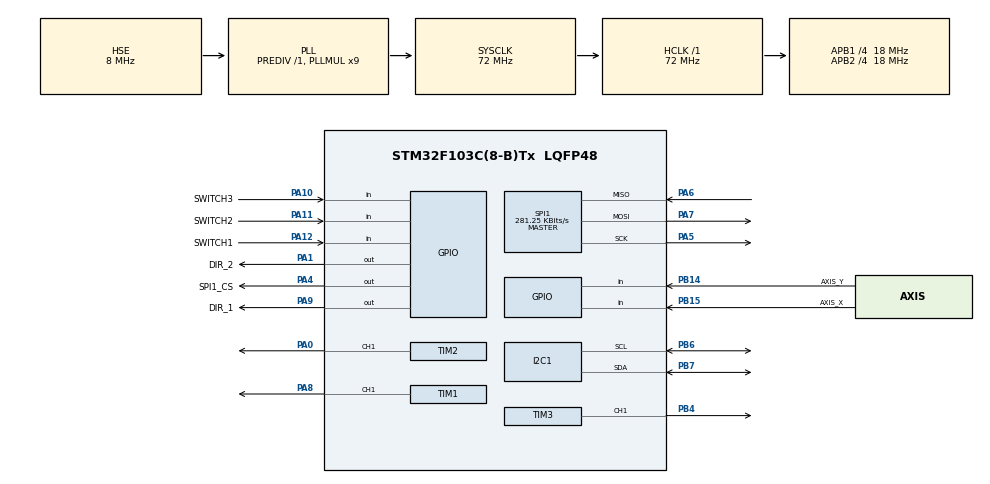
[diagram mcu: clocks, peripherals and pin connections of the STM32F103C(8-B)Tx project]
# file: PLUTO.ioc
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FATFS._MAX_SS=4096
FATFS._USE_LFN=1
I2C1.I2C_Mode=I2C_Fast
Mcu.Family=STM32F1
Mcu.Name=STM32F103C(8-B)Tx
Mcu.Package=LQFP48
NVIC.PriorityGroup=NVIC_PRIORITYGROUP_4
NVIC.SPI1_IRQn=true\:0\:0\:false\:false\:true\:true\:true\:true
PA0-WKUP.Signal=S_TIM2_CH1_ETR
PA1.GPIO_Label=DIR_2
PA1.Signal=GPIO_Output
PA10.GPIO_Label=SWITCH3
PA10.GPIO_PuPd=GPIO_PULLUP
PA10.Signal=GPIO_Input
PA11.GPIO_Label=SWITCH2
PA11.GPIO_PuPd=GPIO_PULLUP
PA11.Signal=GPIO_Input
PA12.GPIO_Label=SWITCH1
PA12.GPIO_PuPd=GPIO_PULLUP
PA12.Signal=GPIO_Input
PA13.Mode=Serial_Wire
PA13.Signal=SYS_JTMS-SWDIO
PA14.Mode=Serial_Wire
PA14.Signal=SYS_JTCK-SWCLK
PA4.GPIO_Label=SPI1_CS
PA4.Signal=GPIO_Output
PA5.Mode=Full_Duplex_Master
PA5.Signal=SPI1_SCK
PA6.GPIO_PuPd=GPIO_PULLUP
PA6.Mode=Full_Duplex_Master
PA6.Signal=SPI1_MISO
PA7.Mode=Full_Duplex_Master
PA7.Signal=SPI1_MOSI
PA8.Signal=S_TIM1_CH1
PA9.GPIO_Label=DIR_1
PA9.Signal=GPIO_Output
PB14.GPIO_Label=AXIS_Y
PB14.GPIO_PuPd=GPIO_PULLUP
PB14.Signal=GPIO_Input
PB15.GPIO_Label=AXIS_X
PB15.GPIO_PuPd=GPIO_PULLUP
PB15.Signal=GPIO_Input
PB4.Signal=S_TIM3_CH1
PB6.Mode=I2C
PB6.Signal=I2C1_SCL
PB7.Mode=I2C
PB7.Signal=I2C1_SDA
PD0-OSC_IN.Mode=HSE-External-Oscillator
PD0-OSC_IN.Signal=RCC_OSC_IN
PD1-OSC_OUT.Mode=HSE-External-Oscillator
PD1-OSC_OUT.Signal=RCC_OSC_OUT
ProjectManager.HeapSize=0x200
ProjectManager.StackSize=0x400
ProjectManager.TargetToolchain=STM32CubeIDE
RCC.AHBFreq_Value=72000000
RCC.APB1CLKDivider=RCC_HCLK_DIV4
RCC.APB1Freq_Value=18000000
RCC.APB1TimFreq_Value=36000000
RCC.APB2CLKDivider=RCC_HCLK_DIV4
RCC.APB2Freq_Value=18000000
RCC.APB2TimFreq_Value=36000000
RCC.HCLKFreq_Value=72000000
RCC.PLLMUL=RCC_PLL_MUL9
RCC.PLLSourceVirtual=RCC_PLLSOURCE_HSE
RCC.SYSCLKFreq_VALUE=72000000
RCC.SYSCLKSource=RCC_SYSCLKSOURCE_PLLCLK
RCC.USBFreq_Value=72000000
SH.S_TIM1_CH1.0=TIM1_CH1,PWM Generation1 CH1
SH.S_TIM2_CH1_ETR.0=TIM2_CH1,PWM Generation1 CH1
SH.S_TIM3_CH1.0=TIM3_CH1,PWM Generation1 CH1
SPI1.BaudRatePrescaler=SPI_BAUDRATEPRESCALER_64
SPI1.CalculateBaudRate=281.25 KBits/s
SPI1.Direction=SPI_DIRECTION_2LINES
SPI1.Mode=SPI_MODE_MASTER
SPI1.VirtualType=VM_MASTER
TIM1.Channel-PWM\ Generation1\ CH1=TIM_CHANNEL_1
TIM1.Period=99
TIM1.Prescaler=35
TIM1.Pulse-PWM\ Generation1\ CH1=70
TIM2.Channel-PWM\ Generation1\ CH1=TIM_CHANNEL_1
TIM2.Period=99
TIM2.Prescaler=35
TIM2.Pulse-PWM\ Generation1\ CH1=70
TIM3.Channel-PWM\ Generation1\ CH1=TIM_CHANNEL_1
TIM3.Period=19999
TIM3.Prescaler=35
VP_FATFS_VS_Generic.Mode=User_defined
VP_TIM1_VS_ClockSourceINT.Mode=Internal
VP_TIM2_VS_ClockSourceINT.Mode=Internal
VP_TIM3_VS_ClockSourceINT.Mode=Internal
board=custom

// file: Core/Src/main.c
/* USER CODE BEGIN Header */
/**
  ******************************************************************************
  * @file           : main.c
  * @brief          : Main program body
  ******************************************************************************
  * @attention
  *
  * Copyright (c) 2025 STMicroelectronics.
  * All rights reserved.
  *
  * This software is licensed under terms that can be found in the LICENSE file
  * in the root directory of this software component.
  * If no LICENSE file comes with this software, it is provided AS-IS.
  *
  ******************************************************************************
  */
/* USER CODE END Header */
#include "main.h"
#include "fatfs.h"
#include "i2c.h"
#include "spi.h"
#include "tim.h"
#include "gpio.h"

/* USER CODE BEGIN Includes */
#include <stdbool.h>
#include"fonts.h"
#include"SH1106.h"
#include"bitmap.h"
/* USER CODE END Includes */

void SystemClock_Config(void);

/* USER CODE BEGIN 0 */
uint16_t X = 0;
uint16_t Y = 0;
bool G_code = 0;
bool czy_podniesiony_mazak;
uint16_t wysokość_ramki = 14;
uint16_t szerokość_ramki = 100;
enum DeviceState{
	MainMenu, //tryb menu glownego (wybor pomiedzy rysownaiem a kalibracja)
	Calibration, //tryb kalibracji gdzie mazak jedzie na dowolna pozycje i czeka na wypoziomowanie
	FileMenu, //tryb selektora plikow projektowych
	ConfirmFile, //stan w ktorym urzadzenie yta o potwierdzenie pliku
	Drawing //tryb w ktorym wykonywany jest program
};
enum DeviceState Stan;
uint8_t k; //To jest zmienna do wyboru opcji w menu glownym
uint8_t i;  //To zmienna do wyboru plikow
//enum ktory mowi w jakim stanie jest urzadzenie

char *nazwy_plików[] = {
		  "Plik1",
		  "Plik2",
		  "Plik3",
		  "Plik4",
};
/* USER CODE END 0 */

  /* USER CODE BEGIN 1 */

/* FUNKCJA DO USTAWIANIA POZYCJI SERWO */
void SetServoPosition(int16_t angle)
{
	uint16_t pulse = 500 + (angle*11.11);
	HAL_TIM_PWM_Start(&htim3, TIM_CHANNEL_1);
    __HAL_TIM_SET_COMPARE(&htim3, TIM_CHANNEL_1, pulse);
    HAL_Delay(500);
}
/* FUNKCJA KTÓRA W ARGUMENCIE MA PODANE, CZY CHCEMY MIEĆ PODNIESIONY MAZAK, CZY NIE
 * PORÓWNUJE TO ZE ZMIENNĄ GLOBALNĄ I USTAWIA MAZAK W ODPOWIEDNIEJ POZYCJI
 */
void mazak(bool pozycja_mazaka){

	if (pozycja_mazaka == czy_podniesiony_mazak){
		return;
	}
	else if(pozycja_mazaka == 1 && czy_podniesiony_mazak == 0){
		SetServoPosition(120);
		czy_podniesiony_mazak = 1;
	}
	else if(pozycja_mazaka == 0 && czy_podniesiony_mazak == 1){
		SetServoPosition(180);
		czy_podniesiony_mazak = 0;
	}
}
/*DODANIE FUNKCJI DO KALIBRACJI, KTÓRA OPUSZCZA MAZAK PRZEZ PEWIEN CZAS, TAK ABY UŻYTKOWNIK
 * MÓGŁNA SPOKOJNIE ZAMONTOWAC MAZAK DOTYKAJACY KARTKI. FUNKCJA NASTEPNIE PODNOSI MAZAK, KTORY JEST
 * JUZ ODPOWIEDNIO WYPOZIOMOWANY
 */
void leveling(){
	mazak(0);
	HAL_Delay(100);
	if(czy_podniesiony_mazak == 0){
		mazak(1);//opuszczenie mazaka
		HAL_Delay(20000);
		//na razie dam czas na wypiziomowanie ale pozniej bedzie tutuaj petla while z której bedzie
		//mozna wyjsc przyciskiem
	}
	mazak(0);//ponowne podniesienie mazaka
}
/* ZAMIANA NA RUCH LINIOWY, KORZYSTAMY Z FUNKCJI S = V*t, GDZIE S TO X LUB Y,
 * NASTĘPNIE KORZYSTAMY Z DANYCH: SILNIK KROKOWY MA : 200KROKÓW/OBR, MICROSTEPPING = 1/2,
 * SKOK ŚRUBY WYNOSI 1.25MM. PARAMETRY SYGNAŁU PWM: PERIOD = 99, PRESCALER = 71,
 * USTAWIAMY WSPÓŁCZYNNIK ARR = 499, TERAZ MAMY WZÓR: fPWM​= fTIM/(PSC+1)×(ARR+1) = 72000000/(71+1)*(499+1)=2000 HZ,
 * NASTĘPNIE (200 KROKÓW/OBR * 2)/1.25 = 320 KROKÓW/MM (GDZIE DWA SĄ OD MICROSTEPPINGU, 1.25 SKOK ŚRUBY,
 * NASTĘPNIE V = 2000/320 = 6.25 mm/s ---> 160mm/ms
 *      fPWM ------^   ​​
 */
uint16_t kierunek_silnikaX(uint16_t x){

	if(x >= X){
		HAL_GPIO_WritePin(DIR_1_GPIO_Port, DIR_1_Pin, GPIO_PIN_RESET);
		x = x - X;
		X = X + x;
	}
	else{
		HAL_GPIO_WritePin(DIR_1_GPIO_Port, DIR_1_Pin, GPIO_PIN_SET);
		x = X - x;
		X = X - x;
	}
	return x;
}
uint16_t kierunek_silnikaY(uint16_t y){

	if(y >= Y){
		HAL_GPIO_WritePin(DIR_2_GPIO_Port, DIR_2_Pin, GPIO_PIN_SET);
		y = y - Y;
		Y = Y + y;
	}
	else{
		HAL_GPIO_WritePin(DIR_2_GPIO_Port, DIR_2_Pin, GPIO_PIN_RESET);
		y = Y - y;
		Y = Y - y;
	}
	return y;
}

//bool ruchliniowy(uint16_t x, uint16_t y){
//	uint16_t ARRY = 0;
//	uint16_t ARRX = 0;
//	uint16_t t = 0;
//
//	x = kierunek_silnikaX(x);
//	y = kierunek_silnikaY(y);
//
//	if(x == 0){
//		ARRY = 499;
//		ARRX = 0;
//		t = 160 * y;
//		__HAL_TIM_SET_AUTORELOAD(&htim2, ARRY);
//		HAL_TIM_PWM_Start(&htim2, TIM_CHANNEL_1);
//	}
//	else if(y == 0){
//		ARRX = 499;
//		ARRY = 0;
//		t = 160 * x;
//		__HAL_TIM_SET_AUTORELOAD(&htim1, ARRX);
//		HAL_TIM_PWM_Start(&htim1, TIM_CHANNEL_1);
//	}
//	else if(y >= x && y!=0 && x!=0){
//		ARRY = 499;
//		ARRX = (uint16_t)(((float)y / (float)x) * (ARRY + 1) - 1);
//		t = (uint16_t)((float)(8*(ARRX+1))/25) * x;
//		__HAL_TIM_SET_AUTORELOAD(&htim2, ARRY);
//		__HAL_TIM_SET_AUTORELOAD(&htim1, ARRX);
//
//		__HAL_TIM_SET_COUNTER(&htim1, 0);
//		__HAL_TIM_SET_COUNTER(&htim2, 0);
//
//		HAL_TIM_PWM_Start(&htim2, TIM_CHANNEL_1);
//		HAL_TIM_PWM_Start(&htim1, TIM_CHANNEL_1);
//	}
//	else{
//		ARRX = 499;
//		ARRY = (uint16_t)(((float)x / (float)y) * (ARRX+1) - 1);
//		t = (uint16_t)((float)(8*(ARRY+1))/25) * y;
//		__HAL_TIM_SET_AUTORELOAD(&htim2, ARRY);
//		__HAL_TIM_SET_AUTORELOAD(&htim1, ARRX);
//
//		__HAL_TIM_SET_COUNTER(&htim1, 0);
//		__HAL_TIM_SET_COUNTER(&htim2, 0);
//
//		HAL_TIM_PWM_Start(&htim2, TIM_CHANNEL_1);
//		HAL_TIM_PWM_Start(&htim1, TIM_CHANNEL_1);
//	}
//
////	__HAL_TIM_SET_AUTORELOAD(&htim2, ARRY);
////	__HAL_TIM_SET_AUTORELOAD(&htim1, ARRX);
//
//
////	HAL_TIM_PWM_Start(&htim2, TIM_CHANNEL_1); // włącz PWM (kroki)
////	HAL_TIM_PWM_Start(&htim1, TIM_CHANNEL_1); // włącz PWM (kroki)
//
//
//	HAL_Delay(t);
//	HAL_TIM_PWM_Stop(&htim1, TIM_CHANNEL_1);
//	HAL_TIM_PWM_Stop(&htim2, TIM_CHANNEL_1);
//
//return 1;
//
//}
bool ruchliniowy(uint16_t x_target, uint16_t y_target) {

    uint16_t dx = (x_target >= X) ? (x_target - X) : (X - x_target);
    uint16_t dy = (y_target >= Y) ? (y_target - Y) : (Y - y_target);

    if (dx == 0 && dy == 0) return true;

    HAL_GPIO_WritePin(DIR_1_GPIO_Port, DIR_1_Pin, (x_target >= X) ? GPIO_PIN_RESET : GPIO_PIN_SET);
    HAL_GPIO_WritePin(DIR_2_GPIO_Port, DIR_2_Pin, (y_target >= Y) ? GPIO_PIN_SET : GPIO_PIN_RESET);

    uint16_t ax = 499, ay = 499;
    uint32_t t_ms = 0;

    if (dx >= dy) {
        ax = 499;
        ay = (dy == 0) ? 499 : (uint16_t)(((float)dx / (float)dy) * 500.0f - 1.0f);
        t_ms = (uint32_t)dx * 160;
    } else {
        ay = 499;
        ax = (dx == 0) ? 499 : (uint16_t)(((float)dy / (float)dx) * 500.0f - 1.0f);
        t_ms = (uint32_t)dy * 160;
    }

    __HAL_TIM_SET_AUTORELOAD(&htim1, ax);
    __HAL_TIM_SET_AUTORELOAD(&htim2, ay);
    __HAL_TIM_SET_COUNTER(&htim1, 0);
    __HAL_TIM_SET_COUNTER(&htim2, 0);

    if (dx > 0) HAL_TIM_PWM_Start(&htim1, TIM_CHANNEL_1);
    if (dy > 0) HAL_TIM_PWM_Start(&htim2, TIM_CHANNEL_1);

    HAL_Delay(t_ms);

    HAL_TIM_PWM_Stop(&htim1, TIM_CHANNEL_1);
    HAL_TIM_PWM_Stop(&htim2, TIM_CHANNEL_1);

    X = x_target;
    Y = y_target;

    HAL_Delay(5);
    return true;
}
/* FUNKCJA USTALAJĄCA POZYCJĘ ZEROWĄ(POCZĄTKOWĄ) */

bool homing(){

	SetServoPosition(180);
	czy_podniesiony_mazak = 0;

	HAL_GPIO_WritePin(DIR_1_GPIO_Port, DIR_1_Pin, GPIO_PIN_SET);

	while(HAL_GPIO_ReadPin(AXIS_X_GPIO_Port, AXIS_X_Pin)){
		HAL_TIM_PWM_Start(&htim1, TIM_CHANNEL_1); // włącz PWM (kroki)
		__HAL_TIM_SET_AUTORELOAD(&htim1, 500 - 1);
	}
	HAL_TIM_PWM_Stop(&htim1, TIM_CHANNEL_1);

	HAL_GPIO_WritePin(DIR_2_GPIO_Port, DIR_2_Pin, GPIO_PIN_RESET);

	while(HAL_GPIO_ReadPin(AXIS_Y_GPIO_Port, AXIS_Y_Pin)){
		HAL_TIM_PWM_Start(&htim2, TIM_CHANNEL_1); // włącz PWM (kroki)
		__HAL_TIM_SET_AUTORELOAD(&htim2, 500 - 1);
	}
	HAL_TIM_PWM_Stop(&htim2, TIM_CHANNEL_1);
	ruchliniowy(5,5);
	X = 0;
	Y = 0;
	return 1;
}

/*
 * KARTA SD
 */
#define MAX_FILES 4

char filenames[MAX_FILES][13];
char ostatnia_linia_pliku[128];
FATFS fs;
DIR dir;
FILINFO fno;
FIL fil;

void list_files(void)
{
    FRESULT res;

    uint8_t i = 0;
    res = f_mount(&fs, "", 1);
    if (res != FR_OK) {
        printf("Mount error: %d\n", res);
        return;
    }

    res = f_opendir(&dir, "/");
    if (res != FR_OK) {
        printf("Dir error: %d\n", res);
        return;
    }

    for (;;) {
        res = f_readdir(&dir, &fno);
        if (res != FR_OK || fno.fname[0] == 0)
            break;

        if (fno.fattrib & (AM_SYS | AM_HID | AM_DIR))
        	continue;
        else
            printf("%s (%lu bytes)\n", fno.fname, fno.fsize);
        	snprintf(filenames[i], sizeof(filenames[i]), "%s", fno.fname);
        	i++;
    }

    f_closedir(&dir);
}
void wykonaj_linie(const char *line)
{
    uint16_t temp_X = X;
    uint16_t temp_Y = Y;
    bool temp_Z = czy_podniesiony_mazak;
    int temp_G_val = 0;

    int found_G = 0, found_X = 0, found_Y = 0, found_Z = 0;

    // Parsowanie G
    const char *ptr_G = strchr(line, 'G');
    if (ptr_G != NULL) {
        if (sscanf(ptr_G, "G%d", &temp_G_val) == 1) {
            temp_Z = (temp_G_val == 0) ? 1 : 0;
            found_G = 1;
        }
    }

    // Parsowanie X
    const char *ptr_X = strchr(line, 'X');
    if (ptr_X != NULL) {
        if (sscanf(ptr_X, "X%hu", &temp_X) == 1) {
            found_X = 1;
        }
    }

    // Parsowanie Y
    const char *ptr_Y = strchr(line, 'Y');
    if (ptr_Y != NULL) {
        if (sscanf(ptr_Y, "Y%hu", &temp_Y) == 1) {
            found_Y = 1;
        }
    }

    // Parsowanie Z
    const char *ptr_Z = strchr(line, 'Z');
    if (ptr_Z != NULL) {
        int z_val;
        if (sscanf(ptr_Z, "Z%d", &z_val) == 1) {
            temp_Z = (bool)z_val;
            found_Z = 1;
        }
    }
     if (found_G == 1 || found_Z == 1) {
        if(temp_Z == 1){
            mazak(0);
        } else {
            mazak(1);
        }
    }
    ruchliniowy(temp_X, temp_Y);
    HAL_Delay(10);
}

void linia_po_lini(const char *filename)
{
    FRESULT res;
    char line_buffer[128];
    uint8_t i = 0;
    res = f_mount(&fs, "", 1);
    if (res != FR_OK) {
        printf("Mount error: %d\n", res);
        return;
    }
    res = f_opendir(&dir, "/");
    if (res != FR_OK) {
        printf("Dir error: %d\n", res);
        return;
    }
    ostatnia_linia_pliku[0] = '\0';
    res = f_open(&fil, filename, FA_READ);
    if (res != FR_OK) {
        printf("Error: Nie można otworzyć pliku '%s'. Kod: %d\n", filename, res);
        return;
    }

    while (f_gets(line_buffer, sizeof(line_buffer), &fil) != NULL)
    {
        strncpy(ostatnia_linia_pliku, line_buffer, 128 - 1);
        ostatnia_linia_pliku[128 - 1] = '\0';
        wykonaj_linie(ostatnia_linia_pliku);
    }
    if (f_error(&fil)) {
        printf("\nError: Błąd podczas czytania pliku.\n");
    }

    f_close(&fil);
    f_closedir(&dir);
}

/*
 * WYSWIETLACZ
 */
void wyświetl_pluto(){
	  SH1106_DrawBitmap(32,0, pluto_map, 64, 64, 1);
	  SH1106_UpdateScreen();
 }

void wyświetlanie_menu_głównego(uint8_t k){
	  SH1106_Fill(SH1106_COLOR_BLACK);

	  SH1106_GotoXY(47,1);
	  SH1106_Puts("PLUTO", &Font_7x10, SH1106_COLOR_WHITE);

	  if(k == 0){
		  SH1106_DrawRectangle(9,11,52 ,52,SH1106_COLOR_WHITE);
		  SH1106_DrawBitmap(10, 12, olowek_map, 50, 50, 1);
		  SH1106_DrawRectangle(70,11, 52,52,SH1106_COLOR_WHITE);
		  SH1106_DrawBitmap(71, 12, zembatka2_map, 50, 50, 1);
	  }
	  else if(k == 1){
		  SH1106_DrawFilledRectangle(9,11,52 ,52,SH1106_COLOR_WHITE);
		  SH1106_DrawBitmap(10, 12, olowek_map, 50, 50, 0);
		  SH1106_DrawRectangle(70,11, 52,52,SH1106_COLOR_WHITE);
		  SH1106_DrawBitmap(71, 12, zembatka2_map, 50, 50, 1);
	  }
	  else{
		  SH1106_DrawRectangle(9,11,52 ,52,SH1106_COLOR_WHITE);
		  SH1106_DrawBitmap(10, 12, olowek_map, 50, 50, 1);
		  SH1106_DrawFilledRectangle(70,11, 52,52,SH1106_COLOR_WHITE);
		  SH1106_DrawBitmap(71, 12, zembatka2_map, 50, 50, 0);
	  }
	  SH1106_UpdateScreen();

  }

void wyświetlanie_plików(uint8_t i){
	  list_files();
	  SH1106_Fill(SH1106_COLOR_BLACK);
	  for(int j = 0; j < 4; j++ ){
		  if(j == i){
			  SH1106_DrawFilledRectangle(2, 2 + j*16, szerokość_ramki, wysokość_ramki,SH1106_COLOR_WHITE);
			  SH1106_GotoXY(6,5 + j*16);
			  SH1106_Puts(filenames[j], &Font_7x10, SH1106_COLOR_BLACK);
		  }
		  else{
			  SH1106_DrawRectangle(2,2 + j*16, szerokość_ramki, wysokość_ramki,SH1106_COLOR_WHITE);
			  SH1106_GotoXY(6,5 + j*16);
			  SH1106_Puts(filenames[j], &Font_7x10, SH1106_COLOR_WHITE);
		  }
	  }

	  SH1106_DrawLine(117,15,120,10, SH1106_COLOR_WHITE);
	  SH1106_DrawLine(120,10,123,15, SH1106_COLOR_WHITE);

	  SH1106_DrawLine(117,30,120,35, SH1106_COLOR_WHITE);
	  SH1106_DrawLine(120,35,123,30, SH1106_COLOR_WHITE);

	  SH1106_DrawLine(113,55,124,55, SH1106_COLOR_WHITE);
	  SH1106_DrawLine(117,57,124,55, SH1106_COLOR_WHITE);
	  SH1106_DrawLine(117,53,124,55, SH1106_COLOR_WHITE);

	  SH1106_UpdateScreen();
}
uint8_t kordynaty_napisu_pliku(char *napis){
	size_t dlugosc = strlen(napis);
	uint8_t x = (132 - (dlugosc * 7))/2;
	return x;
}
void wyświetlanie_czy_uruchomić_plik(uint8_t i){
	uint8_t x = kordynaty_napisu_pliku(filenames[i]);
	SH1106_Fill(SH1106_COLOR_BLACK);
	SH1106_GotoXY(19,5);
	SH1106_Puts("Wybrano plik: ", &Font_7x10, SH1106_COLOR_WHITE);
	SH1106_GotoXY(x,15);
	SH1106_Puts(filenames[i], &Font_7x10, SH1106_COLOR_WHITE);
	SH1106_GotoXY(19,25);
	SH1106_Puts("Czy uruchomic ", &Font_7x10, SH1106_COLOR_WHITE);
	SH1106_GotoXY(33,35);
	SH1106_Puts("ten plik? ", &Font_7x10, SH1106_COLOR_WHITE);
	SH1106_GotoXY(88,50);
	SH1106_Puts("OK", &Font_7x10, SH1106_COLOR_WHITE);
	SH1106_DrawLine(110,55,124,55, SH1106_COLOR_WHITE);
	SH1106_DrawLine(117,57,124,55, SH1106_COLOR_WHITE);
	SH1106_DrawLine(117,53,124,55, SH1106_COLOR_WHITE);
	SH1106_UpdateScreen();
}

//funkcja do obsługi stanu urządzenia
void ExecuteState(){
	if(Stan == MainMenu){
		wyświetlanie_menu_głównego(k);
		if(HAL_GPIO_ReadPin(SWITCH1_GPIO_Port, SWITCH1_Pin)==GPIO_PIN_RESET){
			HAL_Delay(500);
			if(k==1) k=2;

		}
		if(HAL_GPIO_ReadPin(SWITCH2_GPIO_Port, SWITCH2_Pin)==GPIO_PIN_RESET){
			HAL_Delay(500);
			if(k==2) k=1;
		}
		if(HAL_GPIO_ReadPin(SWITCH3_GPIO_Port, SWITCH3_Pin)==GPIO_PIN_RESET){
			HAL_Delay(500);
			if(k == 1){
				Stan = FileMenu;
			}
			else{
				Stan = Calibration;
			}
		}
	}
	if(Stan == Calibration){
		SH1106_Fill(SH1106_COLOR_BLACK);
		SH1106_DrawRectangle(40,6, 52,52,SH1106_COLOR_WHITE);
		SH1106_DrawBitmap(41, 7, zembatka2_map, 50, 50, 1);
		SH1106_UpdateScreen();
		leveling();
		homing();

		if(HAL_GPIO_ReadPin(SWITCH3_GPIO_Port, SWITCH3_Pin)== GPIO_PIN_RESET){
			HAL_Delay(500);
			Stan = MainMenu;
		}
		Stan = MainMenu;
	}
	if(Stan == FileMenu){
		wyświetlanie_plików(i);
		if(HAL_GPIO_ReadPin(SWITCH1_GPIO_Port, SWITCH1_Pin)==GPIO_PIN_RESET){
			HAL_Delay(500);
			i++;
			if(i==4)i = 0;
		}
		if(HAL_GPIO_ReadPin(SWITCH2_GPIO_Port, SWITCH2_Pin)==GPIO_PIN_RESET){
			HAL_Delay(500);
			i--;
			if(i==255)i = 3;
		}
		if(HAL_GPIO_ReadPin(SWITCH3_GPIO_Port, SWITCH3_Pin)==GPIO_PIN_RESET){
			HAL_Delay(500);
			Stan = ConfirmFile;
		}
	}
	if(Stan == ConfirmFile){
		wyświetlanie_czy_uruchomić_plik(i);
		if(HAL_GPIO_ReadPin(SWITCH1_GPIO_Port, SWITCH1_Pin)==GPIO_PIN_RESET || HAL_GPIO_ReadPin(SWITCH2_GPIO_Port, SWITCH2_Pin)==GPIO_PIN_RESET){
			HAL_Delay(500);
			Stan = FileMenu;
		}
		if(HAL_GPIO_ReadPin(SWITCH3_GPIO_Port, SWITCH3_Pin)==GPIO_PIN_RESET){
			HAL_Delay(500);
			Stan = Drawing;
		}

	}
	if(Stan == Drawing){
		SH1106_Fill(SH1106_COLOR_BLACK);
		SH1106_DrawRectangle(40,6,52 ,52,SH1106_COLOR_WHITE);
		SH1106_DrawBitmap(41, 7, olowek_map, 50, 50, 1);
		SH1106_UpdateScreen();
		linia_po_lini(filenames[i]);
		HAL_Delay(4000);
		Stan = MainMenu;
	}
}

int main(void)
{

  /* USER CODE END 1 */

  /* MCU Configuration--------------------------------------------------------*/

  /* Reset of all peripherals, Initializes the Flash interface and the Systick. */
  HAL_Init();

  /* Configure the system clock */
  SystemClock_Config();

  /* Initialize all configured peripherals */
  MX_GPIO_Init();
  MX_I2C1_Init();
  MX_SPI1_Init();
  MX_TIM1_Init();
  MX_TIM2_Init();
  MX_TIM3_Init();
  MX_FATFS_Init();
  /* USER CODE BEGIN 2 */

  SH1106_Init();
  SH1106_UpdateScreen();

  wyświetl_pluto();
  HAL_Delay(3000);

  homing();
  HAL_Delay(20);

  k = 1;
  i = 0;
  Stan = MainMenu;
  /* USER CODE END 2 */

  /* Infinite loop */
  /* USER CODE BEGIN WHILE */

  while (1)
  {
	  ExecuteState();

    /* USER CODE END WHILE */

  }
}

void SystemClock_Config(void)
{
  RCC_OscInitTypeDef RCC_OscInitStruct = {0};
  RCC_ClkInitTypeDef RCC_ClkInitStruct = {0};

  /** Initializes the RCC Oscillators according to the specified parameters
  * in the RCC_OscInitTypeDef structure.
  */
  RCC_OscInitStruct.OscillatorType = RCC_OSCILLATORTYPE_HSE;
  RCC_OscInitStruct.HSEState = RCC_HSE_ON;
  RCC_OscInitStruct.HSEPredivValue = RCC_HSE_PREDIV_DIV1;
  RCC_OscInitStruct.HSIState = RCC_HSI_ON;
  RCC_OscInitStruct.PLL.PLLState = RCC_PLL_ON;
  RCC_OscInitStruct.PLL.PLLSource = RCC_PLLSOURCE_HSE;
  RCC_OscInitStruct.PLL.PLLMUL = RCC_PLL_MUL9;
  if (HAL_RCC_OscConfig(&RCC_OscInitStruct) != HAL_OK)
  {
    Error_Handler();
  }

  /** Initializes the CPU, AHB and APB buses clocks
  */
  RCC_ClkInitStruct.ClockType = RCC_CLOCKTYPE_HCLK|RCC_CLOCKTYPE_SYSCLK
                              |RCC_CLOCKTYPE_PCLK1|RCC_CLOCKTYPE_PCLK2;
  RCC_ClkInitStruct.SYSCLKSource = RCC_SYSCLKSOURCE_PLLCLK;
  RCC_ClkInitStruct.AHBCLKDivider = RCC_SYSCLK_DIV1;
  RCC_ClkInitStruct.APB1CLKDivider = RCC_HCLK_DIV4;
  RCC_ClkInitStruct.APB2CLKDivider = RCC_HCLK_DIV4;

  if (HAL_RCC_ClockConfig(&RCC_ClkInitStruct, FLASH_LATENCY_2) != HAL_OK)
  {
    Error_Handler();
  }
}

void Error_Handler(void)
{
  __disable_irq();
  while (1)
  {
  }
}
